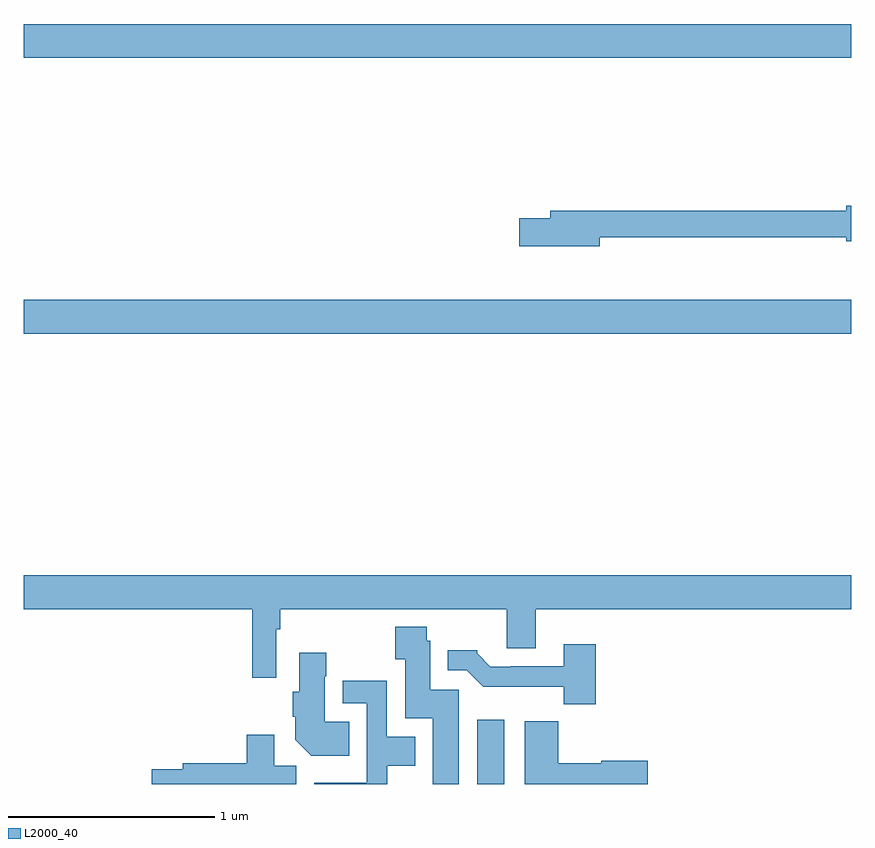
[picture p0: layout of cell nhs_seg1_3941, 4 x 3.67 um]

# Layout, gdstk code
import gdstk
lib = gdstk.Library(unit=1e-6, precision=1e-09)
def R(c, l, rs):  # rectangles x0, y0, x1, y1
    for r in rs: c.add(gdstk.rectangle(r[:2], r[2:], *l))
def P(c, l, *ps):  # polygons
    for p in ps: c.add(gdstk.Polygon(p, *l))
L2000_40 = (2000, 40)

nhs_seg1_3941 = lib.new_cell('nhs_seg1_3941')
R(nhs_seg1_3941, L2000_40, [(327.191,572.199,327.322,572.509), (325,574.376,329,574.54), (325,575.708,329,575.872)])
P(nhs_seg1_3941, L2000_40, [(327.784,574.842),(328.976,574.842),(328.976,574.823),(329,574.823),(329,574.994),(328.976,574.994),(328.976,574.97),(327.545,574.97),(327.545,574.934),(327.396,574.934),(327.396,574.799),(327.784,574.799)],
  [(326.22,572.948),(326.24,572.948),(326.24,573.044),(327.335,573.044),(327.335,572.854),(327.475,572.854),(327.475,573.044),(329,573.044),(329,573.208),(325,573.208),(325,573.044),(326.104,573.044),(326.104,572.712),(326.22,572.712)],
  [(327.103,572.655),(326.965,572.655),(326.965,572.892),(326.949,572.892),(326.949,572.959),(326.797,572.959),(326.797,572.803),(326.843,572.803),(326.843,572.516),(326.978,572.516),(326.978,572.199),(327.103,572.199)],
  [(327.764,572.875),(327.611,572.875),(327.611,572.769),(327.355,572.769),(327.355,572.766),(327.256,572.766),(327.192,572.83),(327.192,572.845),(327.05,572.845),(327.05,572.748),(327.141,572.748),(327.22,572.67),(327.609,572.67),(327.609,572.585),(327.764,572.585)],
  [(326.573,572.5),(326.455,572.5),(326.455,572.72),(326.463,572.72),(326.463,572.833),(326.333,572.833),(326.333,572.646),(326.3,572.646),(326.3,572.524),(326.312,572.524),(326.312,572.414),(326.39,572.336),(326.573,572.336)],
  [(326.757,572.288),(326.893,572.288),(326.893,572.428),(326.754,572.428),(326.754,572.698),(326.541,572.698),(326.541,572.589),(326.658,572.589),(326.658,572.206),(326.405,572.206),(326.405,572.199),(326.757,572.199)],
  [(328.015,572.312),(327.792,572.312),(327.792,572.299),(327.584,572.299),(327.584,572.503),(327.422,572.503),(327.422,572.199),(328.015,572.199)],
  [(326.317,572.288),(326.212,572.288),(326.212,572.437),(326.078,572.437),(326.078,572.3),(325.769,572.3),(325.769,572.27),(325.62,572.27),(325.62,572.199),(326.317,572.199)])

lib.write_gds('nhs_seg1_3941.gds')
